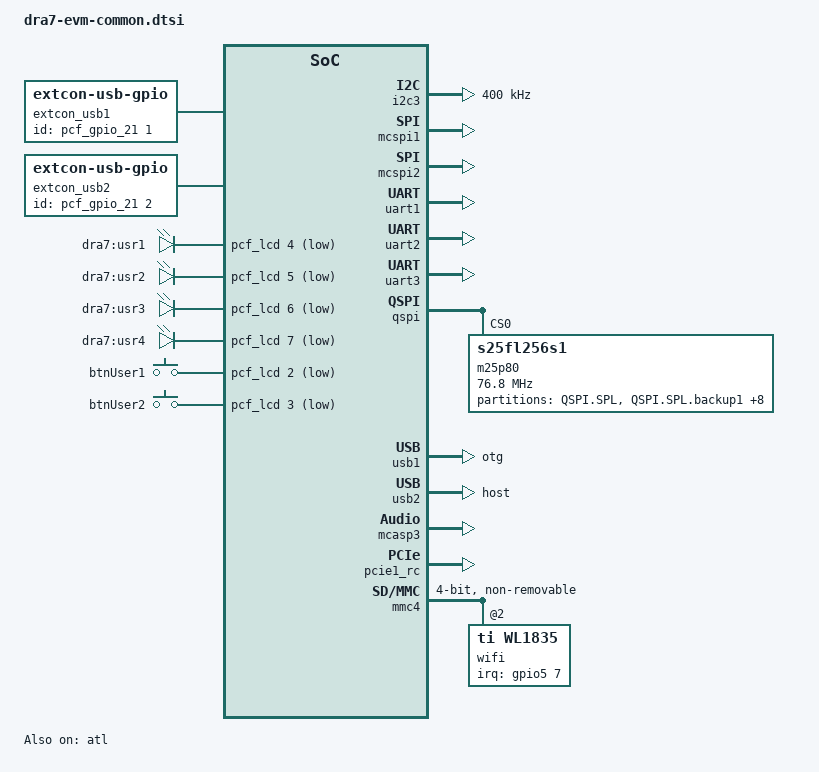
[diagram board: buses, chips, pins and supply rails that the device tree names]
// SPDX-License-Identifier: GPL-2.0-only
/*
 * Copyright (C) 2017 Texas Instruments Incorporated - http://www.ti.com/
 */

#include <dt-bindings/gpio/gpio.h>
#include <dt-bindings/clock/ti-dra7-atl.h>
#include <dt-bindings/input/input.h>

/ {
	chosen {
		stdout-path = &uart1;
	};

	extcon_usb1: extcon_usb1 {
		compatible = "linux,extcon-usb-gpio";
		id-gpio = <&pcf_gpio_21 1 GPIO_ACTIVE_HIGH>;
	};

	extcon_usb2: extcon_usb2 {
		compatible = "linux,extcon-usb-gpio";
		id-gpio = <&pcf_gpio_21 2 GPIO_ACTIVE_HIGH>;
	};

	sound0: sound0 {
		compatible = "simple-audio-card";
		simple-audio-card,name = "DRA7xx-EVM";
		simple-audio-card,widgets =
			"Headphone", "Headphone Jack",
			"Line", "Line Out",
			"Microphone", "Mic Jack",
			"Line", "Line In";
		simple-audio-card,routing =
			"Headphone Jack",	"HPLOUT",
			"Headphone Jack",	"HPROUT",
			"Line Out",		"LLOUT",
			"Line Out",		"RLOUT",
			"MIC3L",		"Mic Jack",
			"MIC3R",		"Mic Jack",
			"Mic Jack",		"Mic Bias",
			"LINE1L",		"Line In",
			"LINE1R",		"Line In";
		simple-audio-card,format = "dsp_b";
		simple-audio-card,bitclock-master = <&sound0_master>;
		simple-audio-card,frame-master = <&sound0_master>;
		simple-audio-card,bitclock-inversion;

		sound0_master: simple-audio-card,cpu {
			sound-dai = <&mcasp3>;
			system-clock-frequency = <5644800>;
		};

		simple-audio-card,codec {
			sound-dai = <&tlv320aic3106>;
			clocks = <&atl_clkin2_ck>;
		};
	};

	leds {
		compatible = "gpio-leds";
		led0 {
			label = "dra7:usr1";
			gpios = <&pcf_lcd 4 GPIO_ACTIVE_LOW>;
			default-state = "off";
		};

		led1 {
			label = "dra7:usr2";
			gpios = <&pcf_lcd 5 GPIO_ACTIVE_LOW>;
			default-state = "off";
		};

		led2 {
			label = "dra7:usr3";
			gpios = <&pcf_lcd 6 GPIO_ACTIVE_LOW>;
			default-state = "off";
		};

		led3 {
			label = "dra7:usr4";
			gpios = <&pcf_lcd 7 GPIO_ACTIVE_LOW>;
			default-state = "off";
		};
	};

	gpio_keys {
		compatible = "gpio-keys";
		#address-cells = <1>;
		#size-cells = <0>;
		autorepeat;

		USER1 {
			label = "btnUser1";
			linux,code = <BTN_0>;
			gpios = <&pcf_lcd 2 GPIO_ACTIVE_LOW>;
		};

		USER2 {
			label = "btnUser2";
			linux,code = <BTN_1>;
			gpios = <&pcf_lcd 3 GPIO_ACTIVE_LOW>;
		};
	};
};

&i2c3 {
	status = "okay";
	clock-frequency = <400000>;
};

&mcspi1 {
	status = "okay";
};

&mcspi2 {
	status = "okay";
};

&uart1 {
	status = "okay";
	interrupts-extended = <&crossbar_mpu GIC_SPI 67 IRQ_TYPE_LEVEL_HIGH>,
			      <&dra7_pmx_core 0x3e0>;
};

&uart2 {
	status = "okay";
};

&uart3 {
	status = "okay";
};

&qspi {
	status = "okay";

	spi-max-frequency = <76800000>;
	m25p80@0 {
		compatible = "s25fl256s1";
		spi-max-frequency = <76800000>;
		reg = <0>;
		spi-tx-bus-width = <1>;
		spi-rx-bus-width = <4>;
		#address-cells = <1>;
		#size-cells = <1>;

		/* MTD partition table.
		 * The ROM checks the first four physical blocks
		 * for a valid file to boot and the flash here is
		 * 64KiB block size.
		 */
		partition@0 {
			label = "QSPI.SPL";
			reg = <0x00000000 0x000010000>;
		};
		partition@1 {
			label = "QSPI.SPL.backup1";
			reg = <0x00010000 0x00010000>;
		};
		partition@2 {
			label = "QSPI.SPL.backup2";
			reg = <0x00020000 0x00010000>;
		};
		partition@3 {
			label = "QSPI.SPL.backup3";
			reg = <0x00030000 0x00010000>;
		};
		partition@4 {
			label = "QSPI.u-boot";
			reg = <0x00040000 0x00100000>;
		};
		partition@5 {
			label = "QSPI.u-boot-spl-os";
			reg = <0x00140000 0x00080000>;
		};
		partition@6 {
			label = "QSPI.u-boot-env";
			reg = <0x001c0000 0x00010000>;
		};
		partition@7 {
			label = "QSPI.u-boot-env.backup1";
			reg = <0x001d0000 0x0010000>;
		};
		partition@8 {
			label = "QSPI.kernel";
			reg = <0x001e0000 0x0800000>;
		};
		partition@9 {
			label = "QSPI.file-system";
			reg = <0x009e0000 0x01620000>;
		};
	};
};

&omap_dwc3_1 {
	extcon = <&extcon_usb1>;
};

&usb1 {
	dr_mode = "otg";
	extcon = <&extcon_usb1>;
};

&omap_dwc3_2 {
	extcon = <&extcon_usb2>;
};

&usb2 {
	dr_mode = "host";
	extcon = <&extcon_usb2>;
};

&atl {
	assigned-clocks = <&abe_dpll_sys_clk_mux>,
			  <&atl_clkctrl DRA7_ATL_ATL_CLKCTRL 26>,
			  <&dpll_abe_ck>,
			  <&dpll_abe_m2x2_ck>,
			  <&atl_clkin2_ck>;
	assigned-clock-parents = <&sys_clkin2>, <&dpll_abe_m2_ck>;
	assigned-clock-rates = <0>, <0>, <180633600>, <361267200>, <5644800>;

	status = "okay";

	atl2 {
		bws = <DRA7_ATL_WS_MCASP2_FSX>;
		aws = <DRA7_ATL_WS_MCASP3_FSX>;
	};
};

&mcasp3 {
	#sound-dai-cells = <0>;

	assigned-clocks = <&l4per2_clkctrl DRA7_L4PER2_MCASP3_CLKCTRL 24>;
	assigned-clock-parents = <&atl_clkin2_ck>;

	status = "okay";

	op-mode = <0>;          /* MCASP_IIS_MODE */
	tdm-slots = <2>;
	/* 4 serializer */
	serial-dir = <  /* 0: INACTIVE, 1: TX, 2: RX */
		1 2 0 0
	>;
	tx-num-evt = <32>;
	rx-num-evt = <32>;
};

&mailbox5 {
	status = "okay";
	mbox_ipu1_ipc3x: mbox_ipu1_ipc3x {
		status = "okay";
	};
	mbox_dsp1_ipc3x: mbox_dsp1_ipc3x {
		status = "okay";
	};
};

&mailbox6 {
	status = "okay";
	mbox_ipu2_ipc3x: mbox_ipu2_ipc3x {
		status = "okay";
	};
	mbox_dsp2_ipc3x: mbox_dsp2_ipc3x {
		status = "okay";
	};
};

&pcie1_rc {
	status = "okay";
};

&mmc4 {
	bus-width = <4>;
	cap-power-off-card;
	keep-power-in-suspend;
	non-removable;
	#address-cells = <1>;
	#size-cells = <0>;
	wifi@2 {
		compatible = "ti,wl1835";
		reg = <2>;
		interrupt-parent = <&gpio5>;
		interrupts = <7 IRQ_TYPE_EDGE_RISING>;
	};
};
